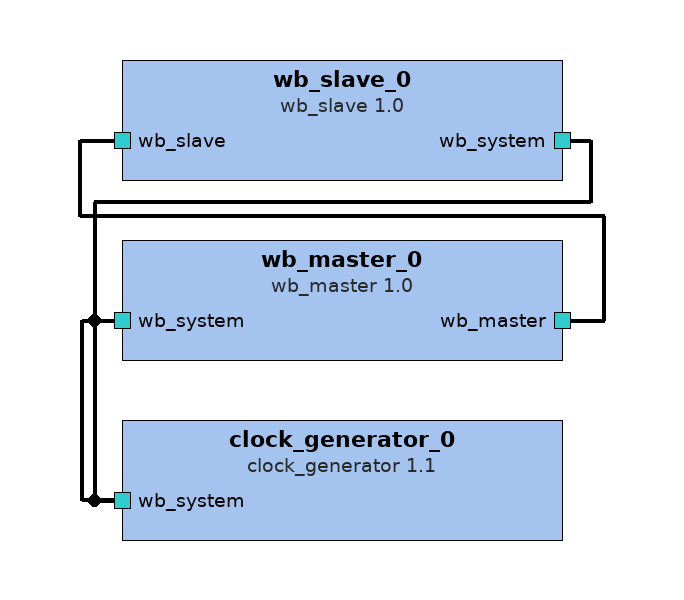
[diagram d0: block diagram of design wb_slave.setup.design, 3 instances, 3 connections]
<?xml version="1.0" encoding="UTF-8"?>
<ipxact:design xmlns:xsi="http://www.w3.org/2001/XMLSchema-instance" xmlns:ipxact="http://www.accellera.org/XMLSchema/IPXACT/1685-2014" xmlns:kactus2="http://kactus2.cs.tut.fi" xsi:schemaLocation="http://www.accellera.org/XMLSchema/IPXACT/1685-2014 http://www.accellera.org/XMLSchema/IPXACT/1685-2014/index.xsd"><ipxact:vendor>tut.fi</ipxact:vendor><ipxact:library>communication.template.test</ipxact:library>
 <ipxact:name>wb_slave.setup.design</ipxact:name><ipxact:version>1.0</ipxact:version><ipxact:componentInstances>
 <ipxact:componentInstance><ipxact:instanceName>wb_slave_0</ipxact:instanceName><ipxact:componentRef vendor="tut.fi" library="communication.template" name="wb_slave" version="1.0"/></ipxact:componentInstance>
 <ipxact:componentInstance><ipxact:instanceName>clock_generator_0</ipxact:instanceName><ipxact:componentRef vendor="tut.fi" library="other.test" name="clock_generator" version="1.1"/></ipxact:componentInstance>
 <ipxact:componentInstance><ipxact:instanceName>wb_master_0</ipxact:instanceName><ipxact:componentRef vendor="tut.fi" library="communication.template" name="wb_master" version="1.0"><ipxact:configurableElementValues><ipxact:configurableElementValue referenceId="uuid_0e2e8ccf_60ab_43b6_a4e8_29a580cf0e1b">1</ipxact:configurableElementValue></ipxact:configurableElementValues></ipxact:componentRef></ipxact:componentInstance>
</ipxact:componentInstances><ipxact:interconnections>
 <ipxact:interconnection><ipxact:name>wb_slave_0_wb_system_to_clock_generator_0_wb_system</ipxact:name><ipxact:activeInterface componentRef="wb_slave_0" busRef="wb_system"/><ipxact:activeInterface componentRef="clock_generator_0" busRef="wb_system"/></ipxact:interconnection>
 <ipxact:interconnection><ipxact:name>clock_generator_0_wb_system_to_wb_master_0_wb_system</ipxact:name><ipxact:activeInterface componentRef="clock_generator_0" busRef="wb_system"/><ipxact:activeInterface componentRef="wb_master_0" busRef="wb_system"/></ipxact:interconnection>
 <ipxact:interconnection><ipxact:name>wb_master_0_wb_master_to_wb_slave_0_wb_slave</ipxact:name><ipxact:activeInterface componentRef="wb_master_0" busRef="wb_master"/><ipxact:activeInterface componentRef="wb_slave_0" busRef="wb_slave"/></ipxact:interconnection>
</ipxact:interconnections></ipxact:design>

